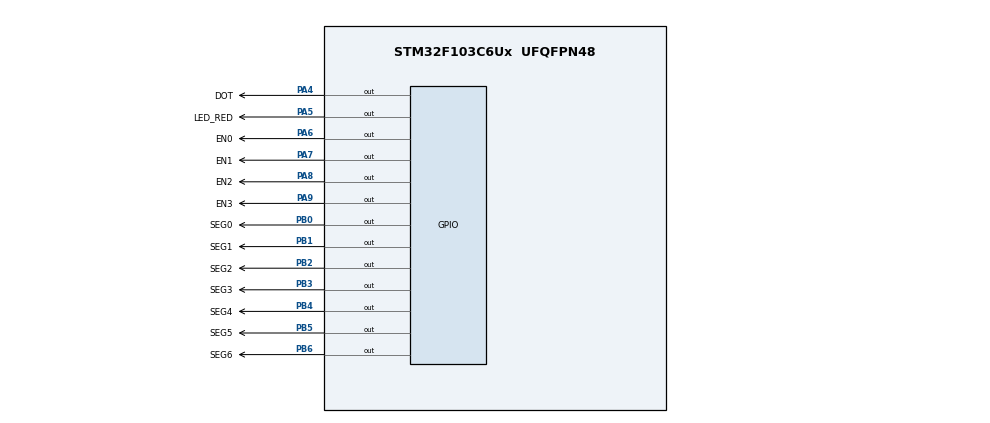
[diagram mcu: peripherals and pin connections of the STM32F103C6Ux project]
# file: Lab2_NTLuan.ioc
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Mcu.Family=STM32F1
Mcu.Name=STM32F103C6Ux
Mcu.Package=UFQFPN48
NVIC.PriorityGroup=NVIC_PRIORITYGROUP_4
NVIC.TIM2_IRQn=true\:0\:0\:false\:false\:true\:true\:true\:true
PA4.GPIO_Label=DOT
PA4.Signal=GPIO_Output
PA5.GPIO_Label=LED_RED
PA5.Signal=GPIO_Output
PA6.GPIO_Label=EN0
PA6.Signal=GPIO_Output
PA7.GPIO_Label=EN1
PA7.Signal=GPIO_Output
PA8.GPIO_Label=EN2
PA8.Signal=GPIO_Output
PA9.GPIO_Label=EN3
PA9.Signal=GPIO_Output
PB0.GPIO_Label=SEG0
PB0.Signal=GPIO_Output
PB1.GPIO_Label=SEG1
PB1.Signal=GPIO_Output
PB2.GPIO_Label=SEG2
PB2.Signal=GPIO_Output
PB3.GPIO_Label=SEG3
PB3.Signal=GPIO_Output
PB4.GPIO_Label=SEG4
PB4.Signal=GPIO_Output
PB5.GPIO_Label=SEG5
PB5.Signal=GPIO_Output
PB6.GPIO_Label=SEG6
PB6.Signal=GPIO_Output
ProjectManager.HeapSize=0x200
ProjectManager.StackSize=0x400
ProjectManager.TargetToolchain=STM32CubeIDE
RCC.APB1Freq_Value=8000000
RCC.APB2Freq_Value=8000000
TIM2.Period=9
TIM2.Prescaler=7999
VP_SYS_VS_ND.Mode=No_Debug
VP_TIM2_VS_ClockSourceINT.Mode=Internal
board=custom

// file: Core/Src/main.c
/* USER CODE BEGIN Header */
/**
 ******************************************************************************
 * @file           : main.c
 * @brief          : Main program body
 ******************************************************************************
 * @attention
 *
 * Copyright (c) 2024 STMicroelectronics.
 * All rights reserved.
 *
 * This software is licensed under terms that can be found in the LICENSE file
 * in the root directory of this software component.
 * If no LICENSE file comes with this software, it is provided AS-IS.
 *
 ******************************************************************************
 */
/* USER CODE END Header */
#include "main.h"

/* USER CODE BEGIN Includes */
#include "software_timer.h"
/* USER CODE END Includes */

TIM_HandleTypeDef htim2;

void SystemClock_Config(void);
static void MX_GPIO_Init(void);
static void MX_TIM2_Init(void);

int main(void) {

	/* MCU Configuration--------------------------------------------------------*/

	/* Reset of all peripherals, Initializes the Flash interface and the Systick. */
	HAL_Init();

	/* Configure the system clock */
	SystemClock_Config();

	/* Initialize all configured peripherals */
	MX_GPIO_Init();
	MX_TIM2_Init();
	/* USER CODE BEGIN 2 */
	HAL_TIM_Base_Start_IT(&htim2);
	/* USER CODE END 2 */

	/* Infinite loop */
	/* USER CODE BEGIN WHILE */
	setTimer1(100);
	setTimer2(100);
	setTimer3(100);
	int index = 0;
	while (1) {
		/* USER CODE END WHILE */
		if (timer1_flag == 1) {
			setTimer1(100);
			HAL_GPIO_TogglePin(LED_RED_GPIO_Port, LED_RED_Pin);
			HAL_GPIO_TogglePin(DOT_GPIO_Port, DOT_Pin);
		}

		if (timer2_flag == 1) {
			update7SEG(index);
			updateClockBuffer(hour, minute);
			index++;
			if (index == 4) {
				index = 0;
			}

			setTimer2(100);
		}

		if (timer3_flag == 1) {
			second++;
			if (second >= 60) {
				second = 0;
				minute++;
			}
			if (minute >= 60) {
				minute = 0;
				hour++;
			}
			if (hour >= 24) {
				hour = 0;
			}
			updateClockBuffer(hour, minute);
			setTimer3(100);
		}
	}
}

void SystemClock_Config(void) {
	RCC_OscInitTypeDef RCC_OscInitStruct = { 0 };
	RCC_ClkInitTypeDef RCC_ClkInitStruct = { 0 };

	/** Initializes the RCC Oscillators according to the specified parameters
	 * in the RCC_OscInitTypeDef structure.
	 */
	RCC_OscInitStruct.OscillatorType = RCC_OSCILLATORTYPE_HSI;
	RCC_OscInitStruct.HSIState = RCC_HSI_ON;
	RCC_OscInitStruct.HSICalibrationValue = RCC_HSICALIBRATION_DEFAULT;
	RCC_OscInitStruct.PLL.PLLState = RCC_PLL_NONE;
	if (HAL_RCC_OscConfig(&RCC_OscInitStruct) != HAL_OK) {
		Error_Handler();
	}

	/** Initializes the CPU, AHB and APB buses clocks
	 */
	RCC_ClkInitStruct.ClockType = RCC_CLOCKTYPE_HCLK | RCC_CLOCKTYPE_SYSCLK
			| RCC_CLOCKTYPE_PCLK1 | RCC_CLOCKTYPE_PCLK2;
	RCC_ClkInitStruct.SYSCLKSource = RCC_SYSCLKSOURCE_HSI;
	RCC_ClkInitStruct.AHBCLKDivider = RCC_SYSCLK_DIV1;
	RCC_ClkInitStruct.APB1CLKDivider = RCC_HCLK_DIV1;
	RCC_ClkInitStruct.APB2CLKDivider = RCC_HCLK_DIV1;

	if (HAL_RCC_ClockConfig(&RCC_ClkInitStruct, FLASH_LATENCY_0) != HAL_OK) {
		Error_Handler();
	}
}

static void MX_TIM2_Init(void) {

	TIM_ClockConfigTypeDef sClockSourceConfig = { 0 };
	TIM_MasterConfigTypeDef sMasterConfig = { 0 };

	htim2.Instance = TIM2;
	htim2.Init.Prescaler = 7999;
	htim2.Init.CounterMode = TIM_COUNTERMODE_UP;
	htim2.Init.Period = 9;
	htim2.Init.ClockDivision = TIM_CLOCKDIVISION_DIV1;
	htim2.Init.AutoReloadPreload = TIM_AUTORELOAD_PRELOAD_DISABLE;
	if (HAL_TIM_Base_Init(&htim2) != HAL_OK) {
		Error_Handler();
	}
	sClockSourceConfig.ClockSource = TIM_CLOCKSOURCE_INTERNAL;
	if (HAL_TIM_ConfigClockSource(&htim2, &sClockSourceConfig) != HAL_OK) {
		Error_Handler();
	}
	sMasterConfig.MasterOutputTrigger = TIM_TRGO_RESET;
	sMasterConfig.MasterSlaveMode = TIM_MASTERSLAVEMODE_DISABLE;
	if (HAL_TIMEx_MasterConfigSynchronization(&htim2, &sMasterConfig)
			!= HAL_OK) {
		Error_Handler();
	}

}

static void MX_GPIO_Init(void) {
	GPIO_InitTypeDef GPIO_InitStruct = { 0 };

	/* GPIO Ports Clock Enable */
	__HAL_RCC_GPIOA_CLK_ENABLE();
	__HAL_RCC_GPIOB_CLK_ENABLE();

	/*Configure GPIO pin Output Level */
	HAL_GPIO_WritePin(GPIOA,
	DOT_Pin | LED_RED_Pin | EN0_Pin | EN1_Pin | EN2_Pin | EN3_Pin,
			GPIO_PIN_RESET);

	/*Configure GPIO pin Output Level */
	HAL_GPIO_WritePin(GPIOB,
	SEG0_Pin | SEG1_Pin | SEG2_Pin | SEG3_Pin | SEG4_Pin | SEG5_Pin | SEG6_Pin,
			GPIO_PIN_RESET);

	/*Configure GPIO pins : DOT_Pin LED_RED_Pin EN0_Pin EN1_Pin
	 EN2_Pin EN3_Pin */
	GPIO_InitStruct.Pin = DOT_Pin | LED_RED_Pin | EN0_Pin | EN1_Pin | EN2_Pin
			| EN3_Pin;
	GPIO_InitStruct.Mode = GPIO_MODE_OUTPUT_PP;
	GPIO_InitStruct.Pull = GPIO_NOPULL;
	GPIO_InitStruct.Speed = GPIO_SPEED_FREQ_LOW;
	HAL_GPIO_Init(GPIOA, &GPIO_InitStruct);

	/*Configure GPIO pins : SEG0_Pin SEG1_Pin SEG2_Pin SEG3_Pin
	 SEG4_Pin SEG5_Pin SEG6_Pin */
	GPIO_InitStruct.Pin = SEG0_Pin | SEG1_Pin | SEG2_Pin | SEG3_Pin | SEG4_Pin
			| SEG5_Pin | SEG6_Pin;
	GPIO_InitStruct.Mode = GPIO_MODE_OUTPUT_PP;
	GPIO_InitStruct.Pull = GPIO_NOPULL;
	GPIO_InitStruct.Speed = GPIO_SPEED_FREQ_LOW;
	HAL_GPIO_Init(GPIOB, &GPIO_InitStruct);

}

/* USER CODE BEGIN 4 */
void HAL_TIM_PeriodElapsedCallback(TIM_HandleTypeDef *htim) {
	timerRun();
}
int led_buffer[4] = { 0, 0, 0, 0 };
void update7SEG(int index) {
	switch (index) {
	case 0:
		displayLED(index);
		display7SEG(led_buffer[0]);
		break;
	case 1:
		displayLED(index);
		display7SEG(led_buffer[1]);
		break;
	case 2:
		displayLED(index);
		display7SEG(led_buffer[2]);
		break;
	case 3:
		displayLED(index);
		display7SEG(led_buffer[3]);
		break;
	default:
		break;
	}
}

void displayLED(int index) {
	switch (index) {
	case 0:
		HAL_GPIO_WritePin(EN0_GPIO_Port, EN0_Pin, RESET);
		HAL_GPIO_WritePin(EN1_GPIO_Port, EN1_Pin, SET);
		HAL_GPIO_WritePin(EN2_GPIO_Port, EN2_Pin, SET);
		HAL_GPIO_WritePin(EN3_GPIO_Port, EN3_Pin, SET);
		break;
	case 1:
		HAL_GPIO_WritePin(EN0_GPIO_Port, EN0_Pin, SET);
		HAL_GPIO_WritePin(EN1_GPIO_Port, EN1_Pin, RESET);
		HAL_GPIO_WritePin(EN2_GPIO_Port, EN2_Pin, SET);
		HAL_GPIO_WritePin(EN3_GPIO_Port, EN3_Pin, SET);
		break;
	case 2:
		HAL_GPIO_WritePin(EN0_GPIO_Port, EN0_Pin, SET);
		HAL_GPIO_WritePin(EN1_GPIO_Port, EN1_Pin, SET);
		HAL_GPIO_WritePin(EN2_GPIO_Port, EN2_Pin, RESET);
		HAL_GPIO_WritePin(EN3_GPIO_Port, EN3_Pin, SET);
		break;
	case 3:
		HAL_GPIO_WritePin(EN0_GPIO_Port, EN0_Pin, SET);
		HAL_GPIO_WritePin(EN1_GPIO_Port, EN1_Pin, SET);
		HAL_GPIO_WritePin(EN2_GPIO_Port, EN2_Pin, SET);
		HAL_GPIO_WritePin(EN3_GPIO_Port, EN3_Pin, RESET);
		break;
	}
}

void display7SEG(int number_status) {
	switch (number_status) {
	case 0:
		HAL_GPIO_WritePin(SEG0_GPIO_Port, SEG0_Pin, RESET);
		HAL_GPIO_WritePin(SEG1_GPIO_Port, SEG1_Pin, RESET);
		HAL_GPIO_WritePin(SEG2_GPIO_Port, SEG2_Pin, RESET);
		HAL_GPIO_WritePin(SEG3_GPIO_Port, SEG3_Pin, RESET);
		HAL_GPIO_WritePin(SEG4_GPIO_Port, SEG4_Pin, RESET);
		HAL_GPIO_WritePin(SEG5_GPIO_Port, SEG5_Pin, RESET);
		HAL_GPIO_WritePin(SEG6_GPIO_Port, SEG6_Pin, SET);
		break;
	case 1:
		HAL_GPIO_WritePin(SEG0_GPIO_Port, SEG0_Pin, SET);
		HAL_GPIO_WritePin(SEG1_GPIO_Port, SEG1_Pin, RESET);
		HAL_GPIO_WritePin(SEG2_GPIO_Port, SEG2_Pin, RESET);
		HAL_GPIO_WritePin(SEG3_GPIO_Port, SEG3_Pin, SET);
		HAL_GPIO_WritePin(SEG4_GPIO_Port, SEG4_Pin, SET);
		HAL_GPIO_WritePin(SEG5_GPIO_Port, SEG5_Pin, SET);
		HAL_GPIO_WritePin(SEG6_GPIO_Port, SEG6_Pin, SET);
		break;
	case 2:
		HAL_GPIO_WritePin(SEG0_GPIO_Port, SEG0_Pin, RESET);
		HAL_GPIO_WritePin(SEG1_GPIO_Port, SEG1_Pin, RESET);
		HAL_GPIO_WritePin(SEG2_GPIO_Port, SEG2_Pin, SET);
		HAL_GPIO_WritePin(SEG3_GPIO_Port, SEG3_Pin, RESET);
		HAL_GPIO_WritePin(SEG4_GPIO_Port, SEG4_Pin, RESET);
		HAL_GPIO_WritePin(SEG5_GPIO_Port, SEG5_Pin, SET);
		HAL_GPIO_WritePin(SEG6_GPIO_Port, SEG6_Pin, RESET);
		break;
	case 3:
		HAL_GPIO_WritePin(SEG0_GPIO_Port, SEG0_Pin, RESET);
		HAL_GPIO_WritePin(SEG1_GPIO_Port, SEG1_Pin, RESET);
		HAL_GPIO_WritePin(SEG2_GPIO_Port, SEG2_Pin, RESET);
		HAL_GPIO_WritePin(SEG3_GPIO_Port, SEG3_Pin, RESET);
		HAL_GPIO_WritePin(SEG4_GPIO_Port, SEG4_Pin, SET);
		HAL_GPIO_WritePin(SEG5_GPIO_Port, SEG5_Pin, SET);
		HAL_GPIO_WritePin(SEG6_GPIO_Port, SEG6_Pin, RESET);
		break;
	case 4:
		HAL_GPIO_WritePin(SEG0_GPIO_Port, SEG0_Pin, SET);
		HAL_GPIO_WritePin(SEG1_GPIO_Port, SEG1_Pin, RESET);
		HAL_GPIO_WritePin(SEG2_GPIO_Port, SEG2_Pin, RESET);
		HAL_GPIO_WritePin(SEG3_GPIO_Port, SEG3_Pin, SET);
		HAL_GPIO_WritePin(SEG4_GPIO_Port, SEG4_Pin, SET);
		HAL_GPIO_WritePin(SEG5_GPIO_Port, SEG5_Pin, RESET);
		HAL_GPIO_WritePin(SEG6_GPIO_Port, SEG6_Pin, RESET);
		break;
	case 5:
		HAL_GPIO_WritePin(SEG0_GPIO_Port, SEG0_Pin, RESET);
		HAL_GPIO_WritePin(SEG1_GPIO_Port, SEG1_Pin, SET);
		HAL_GPIO_WritePin(SEG2_GPIO_Port, SEG2_Pin, RESET);
		HAL_GPIO_WritePin(SEG3_GPIO_Port, SEG3_Pin, RESET);
		HAL_GPIO_WritePin(SEG4_GPIO_Port, SEG4_Pin, SET);
		HAL_GPIO_WritePin(SEG5_GPIO_Port, SEG5_Pin, RESET);
		HAL_GPIO_WritePin(SEG6_GPIO_Port, SEG6_Pin, RESET);
		break;
	case 6:
		HAL_GPIO_WritePin(SEG0_GPIO_Port, SEG0_Pin, RESET);
		HAL_GPIO_WritePin(SEG1_GPIO_Port, SEG1_Pin, SET);
		HAL_GPIO_WritePin(SEG2_GPIO_Port, SEG2_Pin, RESET);
		HAL_GPIO_WritePin(SEG3_GPIO_Port, SEG3_Pin, RESET);
		HAL_GPIO_WritePin(SEG4_GPIO_Port, SEG4_Pin, RESET);
		HAL_GPIO_WritePin(SEG5_GPIO_Port, SEG5_Pin, RESET);
		HAL_GPIO_WritePin(SEG6_GPIO_Port, SEG6_Pin, RESET);
		break;
	case 7:
		HAL_GPIO_WritePin(SEG0_GPIO_Port, SEG0_Pin, RESET);
		HAL_GPIO_WritePin(SEG1_GPIO_Port, SEG1_Pin, RESET);
		HAL_GPIO_WritePin(SEG2_GPIO_Port, SEG2_Pin, RESET);
		HAL_GPIO_WritePin(SEG3_GPIO_Port, SEG3_Pin, SET);
		HAL_GPIO_WritePin(SEG4_GPIO_Port, SEG4_Pin, SET);
		HAL_GPIO_WritePin(SEG5_GPIO_Port, SEG5_Pin, SET);
		HAL_GPIO_WritePin(SEG6_GPIO_Port, SEG6_Pin, SET);
		break;
	case 8:
		HAL_GPIO_WritePin(SEG0_GPIO_Port, SEG0_Pin, RESET);
		HAL_GPIO_WritePin(SEG1_GPIO_Port, SEG1_Pin, RESET);
		HAL_GPIO_WritePin(SEG2_GPIO_Port, SEG2_Pin, RESET);
		HAL_GPIO_WritePin(SEG3_GPIO_Port, SEG3_Pin, RESET);
		HAL_GPIO_WritePin(SEG4_GPIO_Port, SEG4_Pin, RESET);
		HAL_GPIO_WritePin(SEG5_GPIO_Port, SEG5_Pin, RESET);
		HAL_GPIO_WritePin(SEG6_GPIO_Port, SEG6_Pin, RESET);
		break;
	case 9:
		HAL_GPIO_WritePin(SEG0_GPIO_Port, SEG0_Pin, RESET);
		HAL_GPIO_WritePin(SEG1_GPIO_Port, SEG1_Pin, RESET);
		HAL_GPIO_WritePin(SEG2_GPIO_Port, SEG2_Pin, RESET);
		HAL_GPIO_WritePin(SEG3_GPIO_Port, SEG3_Pin, RESET);
		HAL_GPIO_WritePin(SEG4_GPIO_Port, SEG4_Pin, SET);
		HAL_GPIO_WritePin(SEG5_GPIO_Port, SEG5_Pin, RESET);
		HAL_GPIO_WritePin(SEG6_GPIO_Port, SEG6_Pin, RESET);
		break;
	}
}

void updateClockBuffer(int hour,int minute) {
	led_buffer[0] = hour / 10;  // Tens digit of hour
	led_buffer[1] = hour % 10;  // Ones digit of hour
	led_buffer[2] = minute / 10;  // Tens digit of minute
	led_buffer[3] = minute % 10;  // Ones digit of minute
}
/* USER CODE END 4 */

void Error_Handler(void) {
	__disable_irq();
	while (1) {
	}
}
